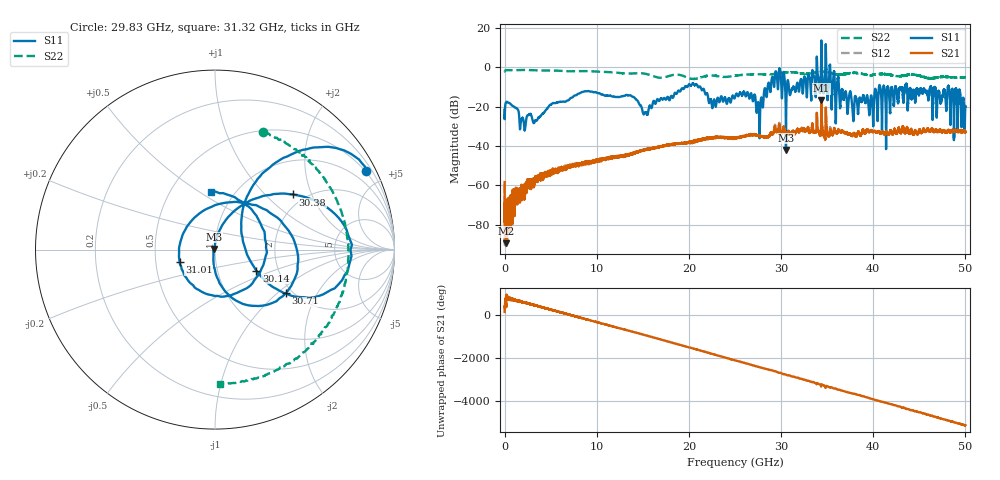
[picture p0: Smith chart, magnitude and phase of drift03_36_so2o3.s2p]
!Created with skrf (http://scikit-rf.org).
# Hz S RI R 50.0
!freq ReS11 ImS11 ReS21 ImS21 ReS12 ImS12 ReS22 ImS22
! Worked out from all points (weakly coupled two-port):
!   10001 points, 300 kHz to 50 GHz, reference 50 ohm
!   highest |S21| = -16.84 dB at 34.37 GHz (marker M1); lowest = -89.4 dB at 140.3 MHz (marker M2)
!   lowest |S11| = -41.9 dB at 30.53 GHz (marker M3), VSWR 1.02, Z = 49.3 + j0.41 ohm
!   |S11| at or under -10 dB: start of sweep to 19.56 GHz; 21.25 GHz to 28.55 GHz (7.296 GHz wide, 29.3 % of centre); 36.29 GHz to 40.62 GHz (4.339 GHz wide, 11.3 % of centre) (the widest 3 of 45)
!   |S22| runs from -5.9 to -1.3 dB; largest |S21 - S12| = 0.03
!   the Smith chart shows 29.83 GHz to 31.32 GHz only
!   S11 on the Smith chart (normalised r, x): 29.83 GHz: 0.44, +4.03; 30.14 GHz: 1.54, -0.39; 30.38 GHz: 1.73, +1.48; 30.71 GHz: 1.85, -1.15; 31.01 GHz: 0.66, -0.10; 31.32 GHz: 0.78, +0.56
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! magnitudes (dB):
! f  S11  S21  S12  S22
! 300 kHz  -21.6  -58.3  -59.2  -2.0
! 140.3 MHz  -17.8  -89.4  -71.4  -1.5
! 3.3 GHz  -27.3  -58.0  -58.3  -1.5
! 8.335 GHz  -12.6  -49.0  -49.1  -1.9
! 15.29 GHz  -22.8  -41.9  -41.9  -3.3
! 16.67 GHz  -16.5  -40.5  -40.5  -5.2
! 20.26 GHz  -9.2  -38.3  -38.0  -5.8
! 22.71 GHz  -16.4  -36.0  -35.4  -4.2
! 25 GHz  -15.3  -36.0  -35.6  -4.3
! 27.53 GHz  -17.8  -34.4  -34.4  -3.5
! 29.83 GHz  -0.4  -29.0  -28.5  -3.0
! 30.14 GHz  -11.7  -33.2  -33.5  -2.8
! 30.38 GHz  -5.5  -32.2  -32.3  -2.6
! 30.53 GHz  -41.9  -34.1  -34.1  -2.6
! 30.71 GHz  -6.7  -32.9  -32.9  -2.5
! 31.01 GHz  -13.6  -34.3  -34.2  -2.5
! 31.32 GHz  -9.8  -32.2  -32.3  -2.5
! 33.34 GHz  -7.6  -31.2  -31.2  -2.9
! 34.37 GHz  13.6  -16.8  -18.0  -2.3
! 37.85 GHz  -27.3  -33.8  -34.1  -2.8
! 41.67 GHz  -11.6  -34.2  -33.9  -3.7
! 50 GHz  -19.9  -32.5  -32.3  -5.0
